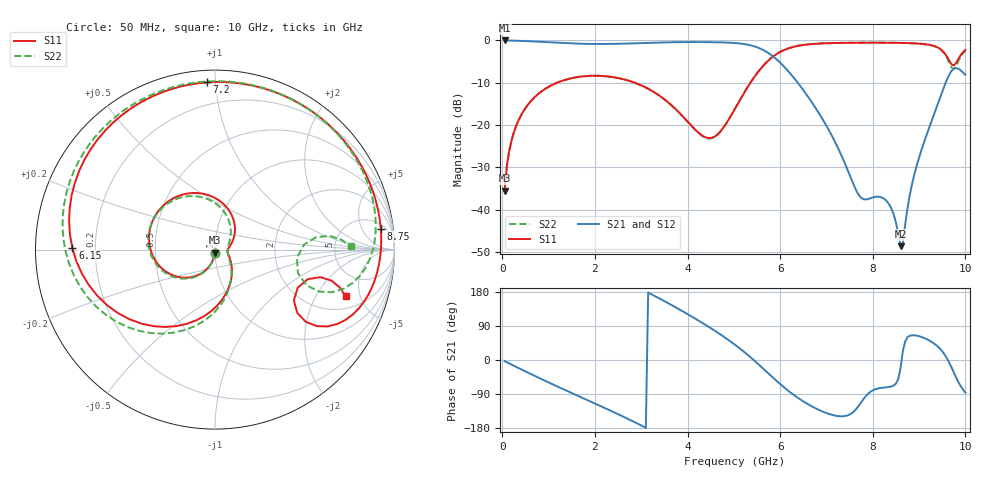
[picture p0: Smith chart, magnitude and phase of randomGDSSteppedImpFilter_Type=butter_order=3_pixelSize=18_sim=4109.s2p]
! freq	dB(S11)	phase(S11)	dB(S12)	phase(S12)
!  dB(S21)	phase(S21)	dB(S22)	phase(S22)
!S-par simulation data
#  GHz  S  DB  R 50
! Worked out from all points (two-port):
!   200 points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, 50 MHz to 10 GHz, reference 50 ohm
!   highest |S21| = -0.01 dB at 50 MHz (marker M1); lowest = -48.6 dB at 8.6 GHz (marker M2)
!   |S21| within 3 dB of the highest: start of sweep to 5.75 GHz
!   lowest |S11| = -35.5 dB at 50 MHz (marker M3), VSWR 1.03, Z = 49.9 - j1.68 ohm
!   |S11| at or under -10 dB: start of sweep to 1.179 GHz; 2.863 GHz to 5.359 GHz (2.495 GHz wide, 60.7 % of centre)
!   |S22| runs from -35.5 to -0.5 dB; largest |S21 - S12| = 0
!   S11 on the Smith chart (normalised r, x): 50 MHz: 1.00, -0.03; 6.15 GHz: 0.11, +0.01; 7.2 GHz: 0.07, +0.95; 8.75 GHz: 7, +12; 10 GHz: 2.83, -3.66
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0.05  -35.47 -92.7  -0.01 -3.1  -0.01 -3.1  -35.47 -92.6
0.2  -23.59 -102.6  -0.04 -12.2  -0.04 -12.2  -23.59 -102.1
0.5  -15.97 -121.2  -0.15 -30.2  -0.15 -30.2  -15.97 -120.0
1.1  -10.38 -156.8  -0.50 -64.9  -0.50 -64.9  -10.38 -154.1
1.75  -8.48 166.2  -0.80 -101.0  -0.80 -101.0  -8.48 170.8
2.7  -9.41 111.2  -0.74 -154.6  -0.74 -154.6  -9.42 119.2
3.4  -13.09 66.9  -0.49 161.9  -0.49 161.9  -13.10 78.0
4.3  -22.33 6.6  -0.39 99.4  -0.39 99.4  -22.44 14.2
5.05  -15.64 -55.4  -0.64 37.9  -0.64 37.9  -15.56 -56.9
5.4  -9.32 -93.2  -1.26 3.0  -1.26 3.0  -9.23 -90.0
5.7  -5.23 -128.8  -2.66 -30.3  -2.66 -30.3  -5.17 -121.9
6.15  -1.99 179.3  -6.96 -78.7  -6.96 -78.7  -1.95 -169.6
6.7  -0.85 128.6  -14.86 -123.4  -14.86 -123.4  -0.82 143.6
7.2  -0.61 92.7  -24.28 -147.1  -24.28 -147.1  -0.60 110.2
7.75  -0.54 59.4  -37.18 -111.5  -37.18 -111.5  -0.54 78.7
8.35  -0.54 27.2  -38.64 -71.2  -38.64 -71.2  -0.55 47.4
8.6  -0.58 14.6  -48.58 -21.0  -48.58 -21.0  -0.58 34.7
8.75  -0.62 7.1  -39.62 60.2  -39.62 60.2  -0.62 27.1
9.25  -1.11 -19.1  -19.62 49.4  -19.62 49.4  -1.12 -0.2
9.6  -3.79 -38.5  -9.31 4.8  -9.31 4.8  -4.08 -22.0
9.75  -5.89 -24.7  -6.67 -33.2  -6.67 -33.2  -6.77 -5.7
10  -2.24 -19.7  -8.12 -86.1  -8.12 -86.1  -2.44 1.4
